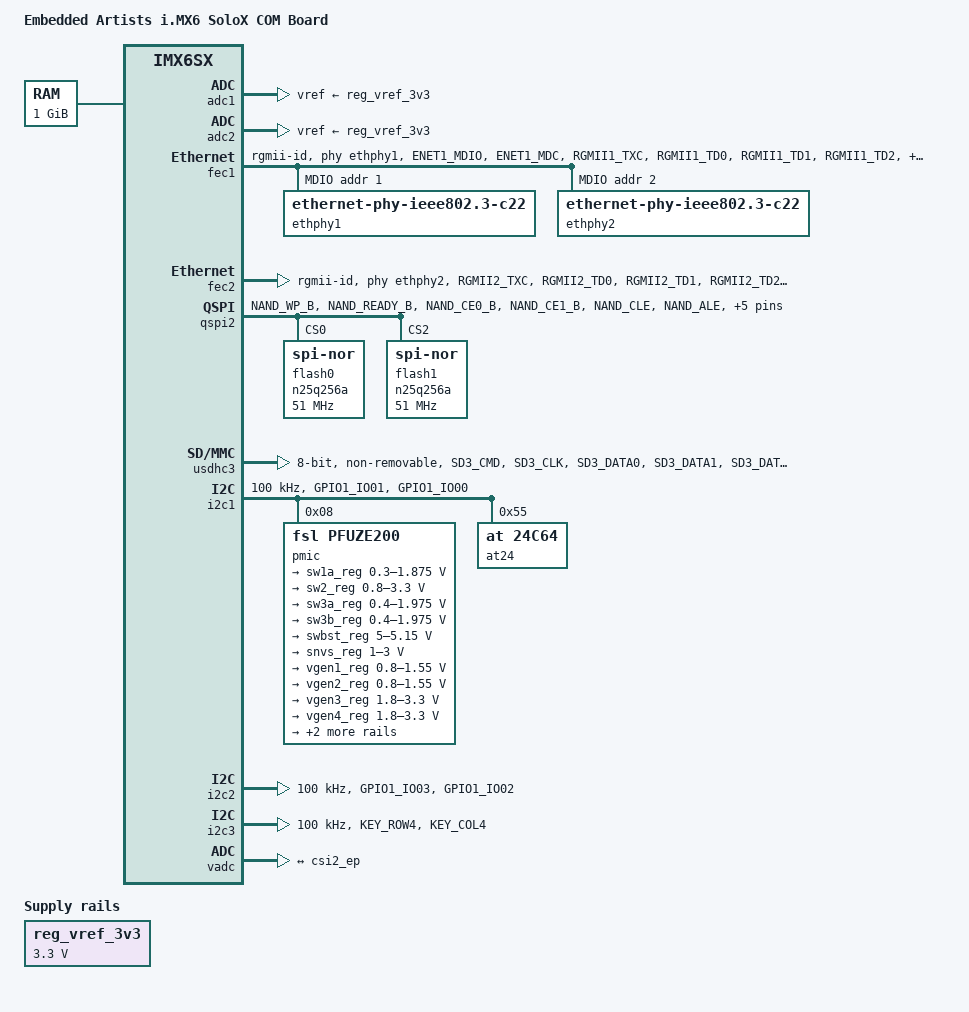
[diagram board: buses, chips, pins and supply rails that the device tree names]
/*
 * Copyright (C) 2014-2015 Freescale Semiconductor, Inc.
 *
 * This program is free software; you can redistribute it and/or modify
 * it under the terms of the GNU General Public License version 2 as
 * published by the Free Software Foundation.
 */


#include <dt-bindings/input/input.h>
#include "imx6sx.dtsi"

/ {
	model = "Embedded Artists i.MX6 SoloX COM Board";
	compatible = "fsl,imx6sxea-com", "fsl,imx6sx";

	memory {
		reg = <0x80000000 0x40000000>;
	};

	regulators {
		compatible = "simple-bus";
		#address-cells = <1>;
		#size-cells = <0>;


		reg_vref_3v3: regulator-vref-3v3 {
			compatible = "regulator-fixed";
			regulator-name = "vref-3v3";
			regulator-min-microvolt = <3300000>;
			regulator-max-microvolt = <3300000>;
		};

	};


};

&adc1 {
	vref-supply = <&reg_vref_3v3>;
	status = "okay";
};

&adc2 {
	vref-supply = <&reg_vref_3v3>;
	status = "okay";
};

&cpu0 {
	operating-points = <
		/* kHz    uV */
		996000  1250000
		792000  1175000
		396000  1175000
		198000	1175000
		>;
	fsl,soc-operating-points = <
		/* ARM kHz      SOC uV */
		996000	1250000
		792000	1175000
		396000	1175000
		198000	1175000
	>;
	fsl,arm-soc-shared = <1>;
};

&reg_arm {
	vin-supply = <&sw1a_reg>;
	regulator-allow-bypass;
};

&reg_soc {
	vin-supply = <&sw1a_reg>;
	regulator-allow-bypass;
};

&gpc {
	/* use ldo-bypass, u-boot will check it and configure */
	fsl,ldo-bypass = <1>;
};

&fec1 {
	pinctrl-names = "default";
	pinctrl-0 = <&pinctrl_enet1>;
	phy-mode = "rgmii-id";
	phy-handle = <&ethphy1>;
	fsl,magic-packet;
	status = "okay";

	mdio {
		#address-cells = <1>;
		#size-cells = <0>;

		ethphy1: ethernet-phy@1 {
			compatible = "ethernet-phy-ieee802.3-c22";
			reg = <1>;

			/* Properties for the Atheros PHY */
			at803x,led-act-blind-workaround;
			at803x,eee-okay;
			at803x,vddio-1p8v;

			/* Properties for the Realtek PHY */
			rtl821x,aldps-disable;
			rtl821x,clkout-disable;

			/* Properties applied to both PHYs but only needed for Realtek PHY*/
			rx-internal-delay-ps = <2000>;
			tx-internal-delay-ps = <2000>;
			eee-broken-1000t;
		};

		ethphy2: ethernet-phy@2 {
			compatible = "ethernet-phy-ieee802.3-c22";
			reg = <2>;

			/* Properties for the Atheros PHY */
			at803x,led-act-blind-workaround;
			at803x,eee-okay;
			at803x,vddio-1p8v;

			/* Properties for the Realtek PHY */
			rtl821x,aldps-disable;
			rtl821x,clkout-disable;

			/* Properties applied to both PHYs but only needed for Realtek PHY*/
			rx-internal-delay-ps = <2000>;
			tx-internal-delay-ps = <2000>;
			eee-broken-1000t;
		};
	};

};

&fec2 {
	pinctrl-names = "default";
	pinctrl-0 = <&pinctrl_enet2>;
	phy-mode = "rgmii-id";
	phy-handle = <&ethphy2>;
	fsl,magic-packet;
	status = "okay";

};

&qspi2 {
	pinctrl-names = "default";
	pinctrl-0 = <&pinctrl_qspi2_1>;
	status = "okay";

	ddrsmp=<0>;

	flash0: n25q256a@0 {
		#address-cells = <1>;
		#size-cells = <1>;
		compatible = "jedec,spi-nor";
		spi-max-frequency = <51000000>;

		/* The "spi-nor,ddr-quad-read-dummy" value is for the
		   n25q256a flash. The spi-nor.c driver will change it
		   to 2 for the is25lp064a flash. */
		spi-nor,ddr-quad-read-dummy = <6>;
		reg = <0>;
	};

	flash1: n25q256a@2 {
		#address-cells = <1>;
		#size-cells = <1>;
		compatible = "jedec,spi-nor";
		spi-max-frequency = <51000000>;

		/* The "spi-nor,ddr-quad-read-dummy" value is for the
		   n25q256a flash. The spi-nor.c driver will change it
		   to 2 for the is25lp064a flash. */
		spi-nor,ddr-quad-read-dummy = <6>;
		reg = <2>;
	};

};


/* For eMMC socket on EA COM Board */
&usdhc3 {
	pinctrl-names = "default", "state_100mhz", "state_200mhz";
	pinctrl-0 = <&pinctrl_usdhc3>;
	pinctrl-1 = <&pinctrl_usdhc3_100mhz>;
	pinctrl-2 = <&pinctrl_usdhc3_200mhz>;
	bus-width = <8>;
	non-removable;
	no-1-8-v;
	status = "okay";
};


&i2c1 {
	clock-frequency = <100000>;
	pinctrl-names = "default";
	pinctrl-0 = <&pinctrl_i2c1>;
	status = "okay";

	pmic: pfuze100@8 {
		compatible = "fsl,pfuze200";
		reg = <0x8>;

		regulators {
			sw1a_reg: sw1ab {
				regulator-min-microvolt = <300000>;
				regulator-max-microvolt = <1875000>;
				regulator-boot-on;
				regulator-always-on;
				regulator-ramp-delay = <6250>;
			};

			sw2_reg: sw2 {
				regulator-min-microvolt = <800000>;
				regulator-max-microvolt = <3300000>;
				regulator-boot-on;
				regulator-always-on;
			};

			sw3a_reg: sw3a {
				regulator-min-microvolt = <400000>;
				regulator-max-microvolt = <1975000>;
				regulator-boot-on;
				regulator-always-on;
			};

			sw3b_reg: sw3b {
				regulator-min-microvolt = <400000>;
				regulator-max-microvolt = <1975000>;
				regulator-boot-on;
				regulator-always-on;
			};

			swbst_reg: swbst {
				regulator-min-microvolt = <5000000>;
				regulator-max-microvolt = <5150000>;
			};

			snvs_reg: vsnvs {
				regulator-min-microvolt = <1000000>;
				regulator-max-microvolt = <3000000>;
				regulator-boot-on;
				regulator-always-on;
			};

			vref_reg: vrefddr {
				regulator-boot-on;
				regulator-always-on;
			};

			vgen1_reg: vgen1 {
				regulator-min-microvolt = <800000>;
				regulator-max-microvolt = <1550000>;
				regulator-always-on;
			};

			vgen2_reg: vgen2 {
				regulator-min-microvolt = <800000>;
				regulator-max-microvolt = <1550000>;
			};

			vgen3_reg: vgen3 {
				regulator-min-microvolt = <1800000>;
				regulator-max-microvolt = <3300000>;
				regulator-always-on;
			};

			vgen4_reg: vgen4 {
				regulator-min-microvolt = <1800000>;
				regulator-max-microvolt = <3300000>;
				regulator-always-on;
			};

			vgen5_reg: vgen5 {
				regulator-min-microvolt = <1800000>;
				regulator-max-microvolt = <3300000>;
				regulator-always-on;
			};

			vgen6_reg: vgen6 {
				regulator-min-microvolt = <1800000>;
				regulator-max-microvolt = <3300000>;
				regulator-always-on;
			};
		};
	};


	at24@55 {
		compatible = "at,24c64";
		pagesize = <32>;
		reg = <0x55>;
	};
};

&i2c2 {
	clock-frequency = <100000>;
	pinctrl-names = "default";
	pinctrl-0 = <&pinctrl_i2c2>;
	status = "okay";

};

&i2c3 {
	clock-frequency = <100000>;
	pinctrl-names = "default";
	pinctrl-0 = <&pinctrl_i2c3>;
	status = "okay";

};


&vadc {
	vadc_in = <0>;
	csi_id = <1>;
	status = "okay";
	port {
		vadc_ep: endpoint {
			remote-endpoint = <&csi2_ep>;
		};
	};
};


&iomuxc {
	pinctrl-names = "default";
	pinctrl-0 = <&pinctrl_hog &pinctrl_can_gpios>;

	imx6xea-com {
		pinctrl_hog: hoggrp {
			fsl,pins = <
				/*MX6SX_PAD_SD1_DATA0__GPIO6_IO_2 0x17059
				MX6SX_PAD_SD1_DATA3__GPIO6_IO_5 0xb000
				MX6SX_PAD_CSI_DATA03__GPIO1_IO_17 0x17059*/
				MX6SX_PAD_GPIO1_IO13__WDOG1_WDOG_ANY 0x30b0
				/*MX6SX_PAD_QSPI1A_SCLK__GPIO4_IO_21  0x17059*/
			>;
		};

		pinctrl_enet1: enet1grp {
			fsl,pins = <
				MX6SX_PAD_ENET1_MDIO__ENET1_MDIO	0xa0b1
				MX6SX_PAD_ENET1_MDC__ENET1_MDC		0xa0b1
				MX6SX_PAD_RGMII1_TXC__ENET1_RGMII_TXC	0xa0b9
				MX6SX_PAD_RGMII1_TD0__ENET1_TX_DATA_0	0xa0b1
				MX6SX_PAD_RGMII1_TD1__ENET1_TX_DATA_1	0xa0b1
				MX6SX_PAD_RGMII1_TD2__ENET1_TX_DATA_2	0xa0b1
				MX6SX_PAD_RGMII1_TD3__ENET1_TX_DATA_3	0xa0b1
				MX6SX_PAD_RGMII1_TX_CTL__ENET1_TX_EN	0xa0b1
				MX6SX_PAD_RGMII1_RXC__ENET1_RX_CLK	0x3081
				MX6SX_PAD_RGMII1_RD0__ENET1_RX_DATA_0	0x3081
				MX6SX_PAD_RGMII1_RD1__ENET1_RX_DATA_1	0x3081
				MX6SX_PAD_RGMII1_RD2__ENET1_RX_DATA_2	0x3081
				MX6SX_PAD_RGMII1_RD3__ENET1_RX_DATA_3	0x3081
				MX6SX_PAD_RGMII1_RX_CTL__ENET1_RX_EN	0x3081
				MX6SX_PAD_ENET1_COL__GPIO2_IO_0 	0x10b0  /* ENET_PWR_EN */
				MX6SX_PAD_ENET2_RX_CLK__ENET2_REF_CLK_25M	0x91
			>;
		};

		pinctrl_enet2: enet2grp {
			fsl,pins = <
				MX6SX_PAD_RGMII2_TXC__ENET2_RGMII_TXC	0xa0b9
				MX6SX_PAD_RGMII2_TD0__ENET2_TX_DATA_0	0xa0b1
				MX6SX_PAD_RGMII2_TD1__ENET2_TX_DATA_1	0xa0b1
				MX6SX_PAD_RGMII2_TD2__ENET2_TX_DATA_2	0xa0b1
				MX6SX_PAD_RGMII2_TD3__ENET2_TX_DATA_3	0xa0b1
				MX6SX_PAD_RGMII2_TX_CTL__ENET2_TX_EN	0xa0b1
				MX6SX_PAD_RGMII2_RXC__ENET2_RX_CLK	0x3081
				MX6SX_PAD_RGMII2_RD0__ENET2_RX_DATA_0	0x3081
				MX6SX_PAD_RGMII2_RD1__ENET2_RX_DATA_1	0x3081
				MX6SX_PAD_RGMII2_RD2__ENET2_RX_DATA_2	0x3081
				MX6SX_PAD_RGMII2_RD3__ENET2_RX_DATA_3	0x3081
				MX6SX_PAD_RGMII2_RX_CTL__ENET2_RX_EN	0x3081
			>;
		};


		pinctrl_i2c1: i2c1grp {
			fsl,pins = <
				MX6SX_PAD_GPIO1_IO01__I2C1_SDA 0x4001b8b1
				MX6SX_PAD_GPIO1_IO00__I2C1_SCL 0x4001b8b1
			>;
		};

		pinctrl_i2c2: i2c2grp {
			fsl,pins = <
				MX6SX_PAD_GPIO1_IO03__I2C2_SDA 0x4001b8b1
				MX6SX_PAD_GPIO1_IO02__I2C2_SCL 0x4001b8b1
			>;
		};

		pinctrl_i2c3: i2c3grp {
			fsl,pins = <
				MX6SX_PAD_KEY_ROW4__I2C3_SDA 0x4001b8b1
				MX6SX_PAD_KEY_COL4__I2C3_SCL 0x4001b8b1
			>;
		};

		pinctrl_qspi2_1: qspi2grp_1 {
			fsl,pins = <
				MX6SX_PAD_NAND_WP_B__QSPI2_A_DATA_0     0x70f1
				MX6SX_PAD_NAND_READY_B__QSPI2_A_DATA_1  0x70f1
				MX6SX_PAD_NAND_CE0_B__QSPI2_A_DATA_2    0x70f1
				MX6SX_PAD_NAND_CE1_B__QSPI2_A_DATA_3    0x70f1
				MX6SX_PAD_NAND_CLE__QSPI2_A_SCLK        0x70f1
				MX6SX_PAD_NAND_ALE__QSPI2_A_SS0_B       0x70f1
				MX6SX_PAD_NAND_DATA01__QSPI2_B_DATA_0   0x70f1
				MX6SX_PAD_NAND_DATA00__QSPI2_B_DATA_1   0x70f1
				MX6SX_PAD_NAND_WE_B__QSPI2_B_DATA_2     0x70f1
				MX6SX_PAD_NAND_RE_B__QSPI2_B_DATA_3     0x70f1
				MX6SX_PAD_NAND_DATA02__QSPI2_B_SCLK     0x70f1
				/*MX6SX_PAD_NAND_DATA03__QSPI2_B_SS0_B    0x70f1*/
			>;
		};


		pinctrl_usdhc3: usdhc3grp {
			fsl,pins = <
				MX6SX_PAD_SD3_CMD__USDHC3_CMD		0x17059
				MX6SX_PAD_SD3_CLK__USDHC3_CLK		0x10059
				MX6SX_PAD_SD3_DATA0__USDHC3_DATA0	0x17059
				MX6SX_PAD_SD3_DATA1__USDHC3_DATA1	0x17059
				MX6SX_PAD_SD3_DATA2__USDHC3_DATA2	0x17059
				MX6SX_PAD_SD3_DATA3__USDHC3_DATA3	0x17059
				MX6SX_PAD_SD3_DATA4__USDHC3_DATA4	0x17059
				MX6SX_PAD_SD3_DATA5__USDHC3_DATA5	0x17059
				MX6SX_PAD_SD3_DATA6__USDHC3_DATA6	0x17059
				MX6SX_PAD_SD3_DATA7__USDHC3_DATA7	0x17059
				/*MX6SX_PAD_KEY_COL0__GPIO2_IO_10		0x17059 /* CD * / */
				/*MX6SX_PAD_KEY_ROW0__GPIO2_IO_15		0x17059 /* WP * / */
			>;
		};

		pinctrl_usdhc3_100mhz: usdhc3grp-100mhz {
			fsl,pins = <
				MX6SX_PAD_SD3_CMD__USDHC3_CMD		0x170b9
				MX6SX_PAD_SD3_CLK__USDHC3_CLK		0x100b9
				MX6SX_PAD_SD3_DATA0__USDHC3_DATA0	0x170b9
				MX6SX_PAD_SD3_DATA1__USDHC3_DATA1	0x170b9
				MX6SX_PAD_SD3_DATA2__USDHC3_DATA2	0x170b9
				MX6SX_PAD_SD3_DATA3__USDHC3_DATA3	0x170b9
				MX6SX_PAD_SD3_DATA4__USDHC3_DATA4	0x170b9
				MX6SX_PAD_SD3_DATA5__USDHC3_DATA5	0x170b9
				MX6SX_PAD_SD3_DATA6__USDHC3_DATA6	0x170b9
				MX6SX_PAD_SD3_DATA7__USDHC3_DATA7	0x170b9
			>;
		};

		pinctrl_usdhc3_200mhz: usdhc3grp-200mhz {
			fsl,pins = <
				MX6SX_PAD_SD3_CMD__USDHC3_CMD		0x170f9
				MX6SX_PAD_SD3_CLK__USDHC3_CLK		0x100f9
				MX6SX_PAD_SD3_DATA0__USDHC3_DATA0	0x170f9
				MX6SX_PAD_SD3_DATA1__USDHC3_DATA1	0x170f9
				MX6SX_PAD_SD3_DATA2__USDHC3_DATA2	0x170f9
				MX6SX_PAD_SD3_DATA3__USDHC3_DATA3	0x170f9
				MX6SX_PAD_SD3_DATA4__USDHC3_DATA4	0x170f9
				MX6SX_PAD_SD3_DATA5__USDHC3_DATA5	0x170f9
				MX6SX_PAD_SD3_DATA6__USDHC3_DATA6	0x170f9
				MX6SX_PAD_SD3_DATA7__USDHC3_DATA7	0x170f9
			>;
		};


	};
};
